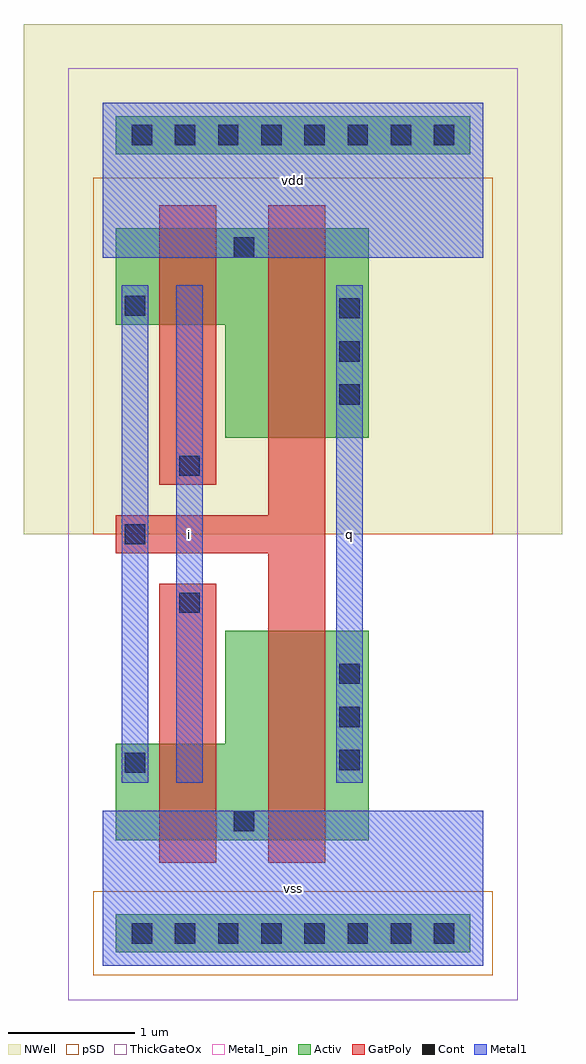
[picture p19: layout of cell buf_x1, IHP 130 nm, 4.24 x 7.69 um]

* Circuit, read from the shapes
.subckt buf_x1 i q vdd vss
XM1 vss i n1 vss sg13_hv_nmos w=0.76u l=0.45u
XM2 q n1 vss vss sg13_hv_nmos w=1.65u l=0.45u
XM3 vdd i n1 vdd sg13_hv_pmos w=0.76u l=0.45u
XM4 q n1 vdd vdd sg13_hv_pmos w=1.65u l=0.45u
.ends

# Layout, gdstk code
import gdstk
lib = gdstk.Library(unit=1e-6, precision=1e-09)
def R(c, l, rs):  # rectangles x0, y0, x1, y1
    for r in rs: c.add(gdstk.rectangle(r[:2], r[2:], *l))
def A(c, l, x, y, w, h, nx, ny, dx, dy):  # array of equal rectangles
    R(c, l, [(x+i*dx, y+j*dy, x+i*dx+w, y+j*dy+h) for i in range(nx) for j in range(ny)])
def P(c, l, *ps):  # polygons
    for p in ps: c.add(gdstk.Polygon(p, *l))
Activ = (1, 0)
GatPoly = (5, 0)
Cont = (6, 0)
Metal1 = (8, 0)
Metal1_pin = (8, 2)
pSD = (14, 0)
NWell = (31, 0)
ThickGateOx = (44, 0)

buf_x1 = lib.new_cell('buf_x1')
R(buf_x1, Activ, [(0.105,0.105,2.895,0.405), (0.105,6.395,2.895,6.695)])
P(buf_x1, Activ, [(0.965,4.16),(0.965,5.05),(0.105,5.05),(0.105,5.81),(2.095,5.81),(2.095,4.16)],
  [(0.105,0.99),(0.105,1.75),(0.965,1.75),(0.965,2.64),(2.095,2.64),(2.095,0.99)])
R(buf_x1, GatPoly, [(0.445,0.81,0.895,3.01), (0.445,3.79,0.895,5.99)])
P(buf_x1, GatPoly, [(1.305,0.81),(1.305,3.25),(0.105,3.25),(0.105,3.55),(1.305,3.55),(1.305,5.99),(1.755,5.99),(1.755,0.81)])
A(buf_x1, Cont, 0.23, 0.175, 0.16, 0.16, 8, 2, 0.34, 6.29)
A(buf_x1, Cont, 0.175, 1.52, 0.16, 0.16, 1, 3, 0, 1.8)
A(buf_x1, Cont, 1.865, 1.54, 0.16, 0.16, 1, 3, 0, 0.34)
A(buf_x1, Cont, 1.865, 4.42, 0.16, 0.16, 1, 3, 0, 0.34)
R(buf_x1, Cont, [(1.035,1.06,1.195,1.22), (0.605,2.78,0.765,2.94), (0.605,3.86,0.765,4.02), (1.035,5.58,1.195,5.74)])
R(buf_x1, Metal1, [(0,0,3,1.22), (0.15,1.44,0.36,5.36), (0.58,1.44,0.79,5.36), (1.84,1.44,2.05,5.36), (0,5.58,3,6.8)])
R(buf_x1, Metal1_pin, [(0,0,3,1.22), (0.58,1.44,0.79,5.36), (1.84,1.44,2.05,5.36), (0,5.58,3,6.8)])
R(buf_x1, pSD, [(-0.075,-0.075,3.075,0.585), (-0.075,3.4,3.075,6.21)])
R(buf_x1, NWell, [(-0.62,3.4,3.62,7.42)])
R(buf_x1, ThickGateOx, [(-0.27,-0.27,3.27,7.07)])
buf_x1.add(gdstk.Label('vdd', (1.5,6.19), layer=8, texttype=2))
buf_x1.add(gdstk.Label('vss', (1.5,0.61), layer=8, texttype=2))
buf_x1.add(gdstk.Label('i', (0.685,3.4), layer=8, texttype=2))
buf_x1.add(gdstk.Label('q', (1.945,3.4), layer=8, texttype=2))

lib.write_gds('buf_x1.gds')
